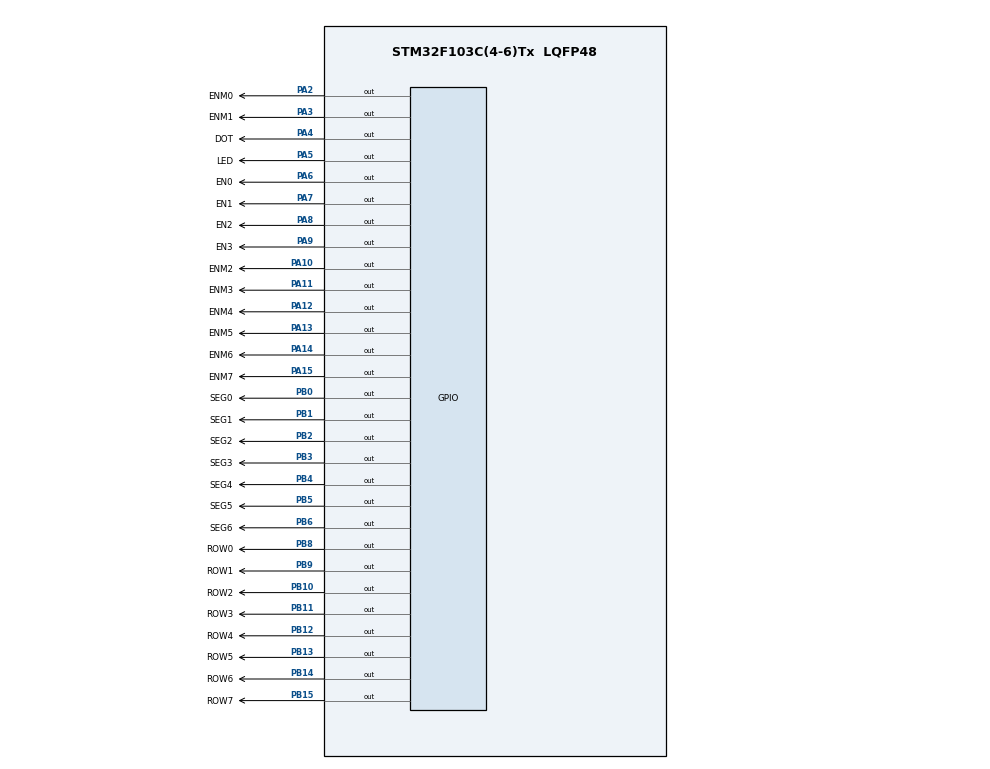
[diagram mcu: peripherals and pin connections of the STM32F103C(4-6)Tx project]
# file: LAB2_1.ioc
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Mcu.Family=STM32F1
Mcu.Name=STM32F103C(4-6)Tx
Mcu.Package=LQFP48
NVIC.PriorityGroup=NVIC_PRIORITYGROUP_4
NVIC.TIM2_IRQn=true\:0\:0\:false\:false\:true\:true\:true\:true
PA10.GPIO_Label=ENM2
PA10.Signal=GPIO_Output
PA11.GPIO_Label=ENM3
PA11.Signal=GPIO_Output
PA12.GPIO_Label=ENM4
PA12.Signal=GPIO_Output
PA13.GPIO_Label=ENM5
PA13.Signal=GPIO_Output
PA14.GPIO_Label=ENM6
PA14.Signal=GPIO_Output
PA15.GPIO_Label=ENM7
PA15.Signal=GPIO_Output
PA2.GPIO_Label=ENM0
PA2.Signal=GPIO_Output
PA3.GPIO_Label=ENM1
PA3.Signal=GPIO_Output
PA4.GPIO_Label=DOT
PA4.Signal=GPIO_Output
PA5.GPIO_Label=LED
PA5.Signal=GPIO_Output
PA6.GPIO_Label=EN0
PA6.Signal=GPIO_Output
PA7.GPIO_Label=EN1
PA7.Signal=GPIO_Output
PA8.GPIO_Label=EN2
PA8.Signal=GPIO_Output
PA9.GPIO_Label=EN3
PA9.Signal=GPIO_Output
PB0.GPIO_Label=SEG0
PB0.Signal=GPIO_Output
PB1.GPIO_Label=SEG1
PB1.Signal=GPIO_Output
PB10.GPIO_Label=ROW2
PB10.Signal=GPIO_Output
PB11.GPIO_Label=ROW3
PB11.Signal=GPIO_Output
PB12.GPIO_Label=ROW4
PB12.Signal=GPIO_Output
PB13.GPIO_Label=ROW5
PB13.Signal=GPIO_Output
PB14.GPIO_Label=ROW6
PB14.Signal=GPIO_Output
PB15.GPIO_Label=ROW7
PB15.Signal=GPIO_Output
PB2.GPIO_Label=SEG2
PB2.Signal=GPIO_Output
PB3.GPIO_Label=SEG3
PB3.Signal=GPIO_Output
PB4.GPIO_Label=SEG4
PB4.Signal=GPIO_Output
PB5.GPIO_Label=SEG5
PB5.Signal=GPIO_Output
PB6.GPIO_Label=SEG6
PB6.Signal=GPIO_Output
PB8.GPIO_Label=ROW0
PB8.Signal=GPIO_Output
PB9.GPIO_Label=ROW1
PB9.Signal=GPIO_Output
ProjectManager.HeapSize=0x200
ProjectManager.StackSize=0x400
ProjectManager.TargetToolchain=Makefile
RCC.APB1Freq_Value=8000000
RCC.APB2Freq_Value=8000000
TIM2.Period=9
TIM2.Prescaler=7999
VP_SYS_VS_ND.Mode=No_Debug
VP_TIM2_VS_ClockSourceINT.Mode=Internal
board=custom

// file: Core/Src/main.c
/* USER CODE BEGIN Header */
/**
 ******************************************************************************
 * @file           : main.c
 * @brief          : Main program body
 ******************************************************************************
 * @attention
 *
 * Copyright (c) 2023 STMicroelectronics.
 * All rights reserved.
 *
 * This software is licensed under terms that can be found in the LICENSE file
 * in the root directory of this software component.
 * If no LICENSE file comes with this software, it is provided AS-IS.
 *
 ******************************************************************************
 */
/* USER CODE END Header */
#include "main.h"

/* USER CODE BEGIN Includes */
#include "software_timer.h"
#include "7segmentLED.h"
/* USER CODE END Includes */

TIM_HandleTypeDef htim2;

void SystemClock_Config(void);
static void MX_GPIO_Init(void);
static void MX_TIM2_Init(void);

/* USER CODE BEGIN 0 */
const int MAX_LED = 4;
int led_buffer[4] = {1, 8, 0, 9};
int hour = 18, minute = 9, second = 50;

void update7SEG(int index)
{
  switch (index)
  {
  case 0:
    display7Seg(led_buffer[0]);
    HAL_GPIO_WritePin(EN3_GPIO_Port, EN3_Pin, 1);
    HAL_GPIO_WritePin(EN0_GPIO_Port, EN0_Pin, 0);
    break;
  case 1:
    display7Seg(led_buffer[1]);
    HAL_GPIO_WritePin(EN1_GPIO_Port, EN1_Pin, 0);
    HAL_GPIO_WritePin(EN0_GPIO_Port, EN0_Pin, 1);
    break;
  case 2:
    display7Seg(led_buffer[2]);
    HAL_GPIO_WritePin(EN2_GPIO_Port, EN2_Pin, 0);
    HAL_GPIO_WritePin(EN1_GPIO_Port, EN1_Pin, 1);
    break;
  case 3:
    display7Seg(led_buffer[3]);
    HAL_GPIO_WritePin(EN3_GPIO_Port, EN3_Pin, 0);
    HAL_GPIO_WritePin(EN2_GPIO_Port, EN2_Pin, 1);
    break;
  default:
    break;
  }
}
void updateClockBuffer()
{
  led_buffer[0] = hour / 10;
  led_buffer[1] = hour % 10;
  led_buffer[2] = minute / 10;
  led_buffer[3] = minute % 10;
}
/* USER CODE END 0 */

int main(void)
{

  /* MCU Configuration--------------------------------------------------------*/

  /* Reset of all peripherals, Initializes the Flash interface and the Systick. */
  HAL_Init();

  /* Configure the system clock */
  SystemClock_Config();

  /* Initialize all configured peripherals */
  MX_GPIO_Init();
  MX_TIM2_Init();
  /* USER CODE BEGIN 2 */
  HAL_TIM_Base_Start_IT(&htim2);
  updateClockBuffer();
  setTimer1(100);
  setTimer2(50);
  clearDisplay7Seg();
  update7SEG(0);
  int index_led = 1;
  HAL_GPIO_WritePin(DOT_GPIO_Port, DOT_Pin, 0);
  HAL_GPIO_WritePin(LED_GPIO_Port, LED_Pin, 0);
  HAL_GPIO_WritePin(EN0_GPIO_Port, EN0_Pin, 0);
  HAL_GPIO_WritePin(EN1_GPIO_Port, EN1_Pin, 1);
  HAL_GPIO_WritePin(EN2_GPIO_Port, EN2_Pin, 1);
  HAL_GPIO_WritePin(EN3_GPIO_Port, EN3_Pin, 1);

  /* USER CODE END 2 */

  /* Infinite loop */
  /* USER CODE BEGIN WHILE */
  while (1)
  {

    if (timer1_flag == 1)
    {
      second++;
      if (second >= 60)
      {
        second = 0;
        minute++;
      }
      if (minute >= 60)
      {
        minute = 0;
        hour++;
      }
      if (hour >= 24)
      {
        hour = 0;
      }
      HAL_GPIO_Toggle(DOT_GPIO_Port, DOT_Pin);
      updateClockBuffer();
      setTimer1(100);
    }
    if (timer2_flag == 1)
    {
      update7SEG(index_led % 4);
      index_led++;
      setTimer2(50);
    }
    /* USER CODE END WHILE */

  }
}

void SystemClock_Config(void)
{
  RCC_OscInitTypeDef RCC_OscInitStruct = {0};
  RCC_ClkInitTypeDef RCC_ClkInitStruct = {0};

  /** Initializes the RCC Oscillators according to the specified parameters
   * in the RCC_OscInitTypeDef structure.
   */
  RCC_OscInitStruct.OscillatorType = RCC_OSCILLATORTYPE_HSI;
  RCC_OscInitStruct.HSIState = RCC_HSI_ON;
  RCC_OscInitStruct.HSICalibrationValue = RCC_HSICALIBRATION_DEFAULT;
  RCC_OscInitStruct.PLL.PLLState = RCC_PLL_NONE;
  if (HAL_RCC_OscConfig(&RCC_OscInitStruct) != HAL_OK)
  {
    Error_Handler();
  }

  /** Initializes the CPU, AHB and APB buses clocks
   */
  RCC_ClkInitStruct.ClockType = RCC_CLOCKTYPE_HCLK | RCC_CLOCKTYPE_SYSCLK | RCC_CLOCKTYPE_PCLK1 | RCC_CLOCKTYPE_PCLK2;
  RCC_ClkInitStruct.SYSCLKSource = RCC_SYSCLKSOURCE_HSI;
  RCC_ClkInitStruct.AHBCLKDivider = RCC_SYSCLK_DIV1;
  RCC_ClkInitStruct.APB1CLKDivider = RCC_HCLK_DIV1;
  RCC_ClkInitStruct.APB2CLKDivider = RCC_HCLK_DIV1;

  if (HAL_RCC_ClockConfig(&RCC_ClkInitStruct, FLASH_LATENCY_0) != HAL_OK)
  {
    Error_Handler();
  }
}

static void MX_TIM2_Init(void)
{

  TIM_ClockConfigTypeDef sClockSourceConfig = {0};
  TIM_MasterConfigTypeDef sMasterConfig = {0};

  htim2.Instance = TIM2;
  htim2.Init.Prescaler = 7999;
  htim2.Init.CounterMode = TIM_COUNTERMODE_UP;
  htim2.Init.Period = 9;
  htim2.Init.ClockDivision = TIM_CLOCKDIVISION_DIV1;
  htim2.Init.AutoReloadPreload = TIM_AUTORELOAD_PRELOAD_DISABLE;
  if (HAL_TIM_Base_Init(&htim2) != HAL_OK)
  {
    Error_Handler();
  }
  sClockSourceConfig.ClockSource = TIM_CLOCKSOURCE_INTERNAL;
  if (HAL_TIM_ConfigClockSource(&htim2, &sClockSourceConfig) != HAL_OK)
  {
    Error_Handler();
  }
  sMasterConfig.MasterOutputTrigger = TIM_TRGO_RESET;
  sMasterConfig.MasterSlaveMode = TIM_MASTERSLAVEMODE_DISABLE;
  if (HAL_TIMEx_MasterConfigSynchronization(&htim2, &sMasterConfig) != HAL_OK)
  {
    Error_Handler();
  }
}

static void MX_GPIO_Init(void)
{
  GPIO_InitTypeDef GPIO_InitStruct = {0};

  /* GPIO Ports Clock Enable */
  __HAL_RCC_GPIOA_CLK_ENABLE();
  __HAL_RCC_GPIOB_CLK_ENABLE();

  /*Configure GPIO pin Output Level */
  HAL_GPIO_WritePin(GPIOA, DOT_Pin | LED_Pin | EN0_Pin | EN1_Pin | EN2_Pin | EN3_Pin, GPIO_PIN_RESET);

  /*Configure GPIO pin Output Level */
  HAL_GPIO_WritePin(GPIOB, SEG0_Pin | SEG1_Pin | SEG2_Pin | SEG3_Pin | SEG4_Pin | SEG5_Pin | SEG6_Pin, GPIO_PIN_RESET);

  /*Configure GPIO pins : DOT_Pin LED_Pin EN0_Pin EN1_Pin
                           EN2_Pin EN3_Pin */
  GPIO_InitStruct.Pin = DOT_Pin | LED_Pin | EN0_Pin | EN1_Pin | EN2_Pin | EN3_Pin;
  GPIO_InitStruct.Mode = GPIO_MODE_OUTPUT_PP;
  GPIO_InitStruct.Pull = GPIO_NOPULL;
  GPIO_InitStruct.Speed = GPIO_SPEED_FREQ_LOW;
  HAL_GPIO_Init(GPIOA, &GPIO_InitStruct);

  /*Configure GPIO pins : SEG0_Pin SEG1_Pin SEG2_Pin SEG3_Pin
                           SEG4_Pin SEG5_Pin SEG6_Pin */
  GPIO_InitStruct.Pin = SEG0_Pin | SEG1_Pin | SEG2_Pin | SEG3_Pin | SEG4_Pin | SEG5_Pin | SEG6_Pin;
  GPIO_InitStruct.Mode = GPIO_MODE_OUTPUT_PP;
  GPIO_InitStruct.Pull = GPIO_NOPULL;
  GPIO_InitStruct.Speed = GPIO_SPEED_FREQ_LOW;
  HAL_GPIO_Init(GPIOB, &GPIO_InitStruct);

}

/* USER CODE BEGIN 4 */
void HAL_TIM_PeriodElapsedCallback(TIM_HandleTypeDef *htim)
{
  timerRun();
}
/* USER CODE END 4 */

void Error_Handler(void)
{
  __disable_irq();
  while (1)
  {
  }
}
